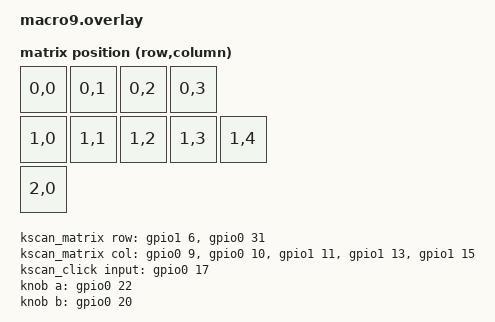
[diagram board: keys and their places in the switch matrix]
#include <dt-bindings/zmk/matrix_transform.h>
#include <zephyr/dt-bindings/gpio/gpio.h>

/ {
    chosen {
        zmk,kscan = &kscan0;
        zmk,physical-layout = &physical_layout0;
    };

    kscan0: kscan_composite {
        compatible = "zmk,kscan-composite";
        rows = <3>;
        columns = <5>;
        wakeup-source;

        matrix {
            kscan = <&kscan_matrix>;
        };

        knob_click {
            kscan = <&kscan_click>;
            row-offset = <2>;
        };
    };

    kscan_matrix: kscan_matrix {
        compatible = "zmk,kscan-gpio-matrix";
        wakeup-source;
        diode-direction = "row2col";

        row-gpios
            = <&gpio1 6 GPIO_ACTIVE_HIGH>   /* 윗줄 4키 공통선: 106 */
            , <&gpio0 31 GPIO_ACTIVE_HIGH>  /* 아랫줄 5키 공통선: 031 */
            ;

        col-gpios
            = <&gpio0 9  (GPIO_ACTIVE_HIGH | GPIO_PULL_DOWN)>  /* 1번/5번 라인: 009 */
            , <&gpio0 10 (GPIO_ACTIVE_HIGH | GPIO_PULL_DOWN)>  /* 2번/6번 라인: 010 */
            , <&gpio1 11 (GPIO_ACTIVE_HIGH | GPIO_PULL_DOWN)>  /* 3번/7번 라인: 111 */
            , <&gpio1 13 (GPIO_ACTIVE_HIGH | GPIO_PULL_DOWN)>  /* 4번/8번 라인: 113 */
            , <&gpio1 15 (GPIO_ACTIVE_HIGH | GPIO_PULL_DOWN)>  /* 9번 단독 라인: 115 */
            ;
    };

    kscan_click: kscan_click {
        compatible = "zmk,kscan-gpio-direct";
        wakeup-source;

        input-gpios
            = <&gpio0 17 (GPIO_ACTIVE_LOW | GPIO_PULL_UP)>  /* 노브 SW: 017 */
            ;
    };

    default_transform: keymap_transform_0 {
        compatible = "zmk,matrix-transform";
        columns = <5>;
        rows = <3>;

        map = <
            RC(0,0) RC(0,1) RC(0,2) RC(0,3)
            RC(1,0) RC(1,1) RC(1,2) RC(1,3) RC(1,4)
            RC(2,0)
        >;
    };

    physical_layout0: physical_layout_0 {
        compatible = "zmk,physical-layout";
        display-name = "Default Layout";
        kscan = <&kscan0>;
        transform = <&default_transform>;
    };

    knob: encoder {
        compatible = "alps,ec11";
        a-gpios = <&gpio0 22 (GPIO_ACTIVE_LOW | GPIO_PULL_UP)>;  /* CLK: 022 */
        b-gpios = <&gpio0 20 (GPIO_ACTIVE_LOW | GPIO_PULL_UP)>;  /* DT: 020 */
        steps = <80>;
        status = "okay";
    };

    sensors: sensors {
        compatible = "zmk,keymap-sensors";
        sensors = <&knob>;
        triggers-per-rotation = <40>;
    };
};
